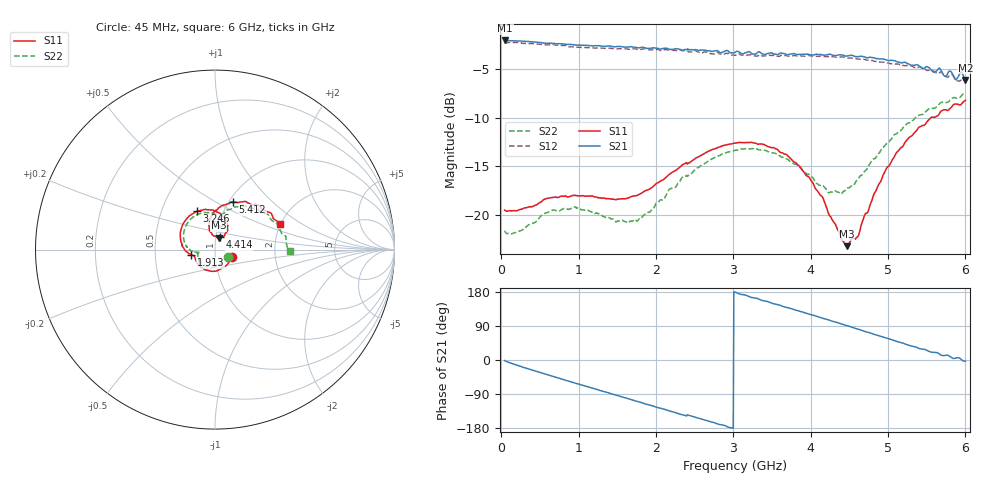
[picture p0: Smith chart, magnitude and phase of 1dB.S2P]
! C:\Users\Aljaz\OneDrive - Univerza v Ljubljani\DOKTORAT\NOVI SA\Slabilec PE43711B\meritve\prototip2\1dB.S2P
! Touchstone 1.1 file saved by VNA.EXE V1.65 (www.ke5fx.com/gpib/readme.htm)
! 18. 04. 2022 18:00:13
!  Source: HP8510C.07.14: Aug 26  1998
!  Min freq: 4.500000E+007 Hz
!  Max freq: 6.000000E+009 Hz
!  Points: 801
!  Params: S11 S21 S12 S22
# GHZ S DB R 50
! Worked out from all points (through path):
!   801 points, 45 MHz to 6 GHz, reference 50 ohm
!   highest |S21| = -2.01 dB at 52.44 MHz (marker M1); lowest = -6.1 dB at 6 GHz (marker M2)
!   group delay of S21, straight-line fit = 167 ps
!   lowest |S11| = -23.3 dB at 4.467 GHz (marker M3), VSWR 1.15, Z = 51.6 + j6.8 ohm
!   |S11| at or under -10 dB: start of sweep to 5.552 GHz
!   |S22| runs from -22.0 to -7.5 dB; largest |S21 - S12| = 0.051
!   S11 on the Smith chart (normalised r, x): 45 MHz: 1.21, -0.10; 1.913 GHz: 0.77, -0.04; 3.246 GHz: 0.75, +0.34; 4.414 GHz: 1.04, +0.14; 5.412 GHz: 1.04, +0.60; 6 GHz: 1.98, +0.67
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0.045  -19.55 -23.4  -2.02 -1.6  -2.27 -1.8  -21.66 -30.1
0.05244375  -19.59 -22.6  -2.01 -2.5  -2.26 -2.6  -21.79 -28.9
0.5214  -18.67 -81.9  -2.23 -34.3  -2.40 -34.3  -20.11 -93.6
1.042463  -18.05 -135.0  -2.51 -66.1  -2.75 -66.1  -19.52 -148.6
1.518863  -18.40 -159.3  -2.63 -94.6  -2.86 -94.3  -20.66 -170.8
1.913381  -17.39 -167.8  -2.82 -118.4  -2.98 -118.2  -19.78 -170.2
2.032481  -16.67 -171.0  -2.83 -126.1  -2.95 -125.6  -18.72 -171.5
2.36745  -14.77 174.2  -2.97 -145.6  -3.05 -145.8  -16.14 175.3
2.434444  -14.65 171.3  -2.96 -146.4  -3.20 -146.7  -15.90 173.8
2.657756  -13.56 157.2  -3.06 -160.2  -3.22 -160.3  -14.59 159.5
3.0225  -12.62 131.2  -3.23 179.2  -3.54 178.7  -13.37 133.6
3.245812  -12.57 114.9  -3.41 164.8  -3.53 164.9  -13.20 117.2
3.692438  -13.84 81.5  -3.49 138.4  -3.59 138.8  -14.26 87.3
4.019963  -16.64 61.5  -3.52 118.8  -3.61 118.7  -16.16 74.4
4.235831  -19.97 57.4  -3.44 105.6  -3.65 105.7  -17.75 74.5
4.414481  -22.74 69.0  -3.51 93.8  -3.71 93.9  -17.70 79.4
4.466588  -23.27 72.8  -3.63 91.0  -3.81 90.5  -17.32 80.3
4.608019  -22.28 95.9  -3.69 81.8  -3.93 81.5  -16.37 82.2
5.009981  -14.99 97.7  -4.09 55.8  -4.37 56.4  -12.49 70.2
5.411944  -10.93 69.4  -4.73 29.8  -4.70 32.0  -9.69 43.7
5.717137  -9.19 45.1  -5.58 11.6  -5.49 12.6  -8.43 21.1
6  -8.20 21.7  -6.08 -2.9  -6.17 -1.4  -7.54 -0.9
